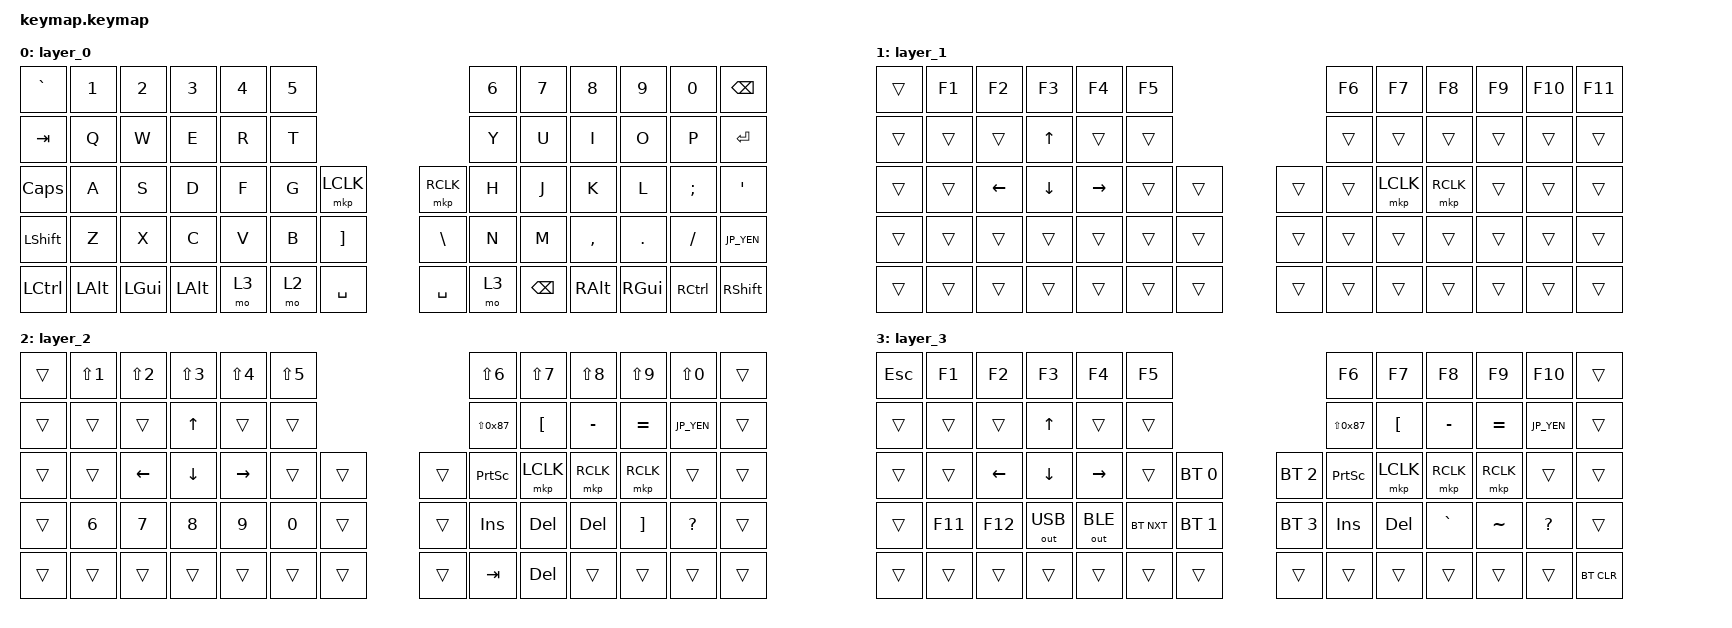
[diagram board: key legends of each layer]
#include <behaviors.dtsi>
#include <dt-bindings/zmk/bt.h>
#include <dt-bindings/zmk/keys.h>
#include <dt-bindings/zmk/outputs.h>
#include <dt-bindings/zmk/pointing.h>
#include <input/processors.dtsi>

// レイヤー2をスクロールに割り当てる
// https://zmk.dev/docs/keymaps/input-processors/code-mapper
&pointing_listener {
    scroller {
        layers = <2>;
        input-processors = <
            &zip_xy_to_scroll_mapper
            &zip_scroll_scaler 1 15
        >;
    };
};

// OS設定を日本語キーボードのまま使用するための変換定義
// https://note.com/kloir_z/n/n314e739f03a1
#define JP_DQUOTE       AT                // "
#define JP_AMPERSAND    CARET             // &
#define JP_QUOTE        AMPERSAND         // '
#define JP_EQUAL        UNDER             // =
#define JP_CARET        EQUAL             // ^
#define JP_YEN          0x89              // ¥
#define JP_PLUS         COLON             // +
#define JP_TILDE        PLUS              // ~
#define JP_PIPE         LS(0x89)          // |
#define JP_AT           LEFT_BRACKET      // @
#define JP_COLON        SINGLE_QUOTE      // :
#define JP_ASTERISK     DOUBLE_QUOTES     // *
#define JP_BACKQUOTE    LEFT_BRACE        // `
#define JP_UNDERSCORE   LS(0x87)          // _
#define JP_LBRACKET     RIGHT_BRACKET     // [
#define JP_RBRACKET     BACKSLASH         // ]
#define JP_LPAREN       ASTERISK          // (
#define JP_RPAREN       LEFT_PARENTHESIS  // )
#define JP_LBRACE       RIGHT_BRACE       // {
#define JP_RBRACE       PIPE              // }
#define JP_KANA         LANGUAGE_1        // かな
#define JP_EISU         LANGUAGE_2        // 英数
#define JP_HANZEN       GRAVE             // 半角/全角
#define JP_SLASH        FSLH              // 追加：バックスラッシュ


/ {
    combos {
        compatible = "zmk,combos";
    };

    keymap {
        compatible = "zmk,keymap";

        layer_0 {
            bindings = <
&kp JP_HANZEN    &kp N1     &kp N2    &kp N3    &kp N4    &kp N5                                                         &kp N6       &kp N7    &kp N8     &kp N9    &kp N0                &kp BSPC
&kp TAB    &kp Q      &kp W      &kp E      &kp R        &kp T                                                          &kp Y        &kp U     &kp I      &kp O     &kp P                 &kp ENTER
&kp CAPS   &kp A      &kp S      &kp D      &kp F        &kp G        &mkp LCLK                  &mkp RCLK              &kp H        &kp J     &kp K      &kp L     &kp SEMI              &kp JP_COLON
&kp LSHFT  &kp Z      &kp X      &kp C      &kp V        &kp B        &kp JP_LBRACKET            &kp JP_RBRACKET        &kp N        &kp M     &kp COMMA  &kp DOT   &kp JP_SLASH         &kp JP_YEN
&kp LCTRL  &kp LALT   &kp LGUI   &kp  LALT    &mo 3        &mo 2   &kp SPACE                         &kp SPACE           &mo 3        &kp BSPC  &kp RALT   &kp RGUI  &kp RCTRL             &kp RSHFT 
            >;
        };

        layer_1 {
            bindings = <
&trans  &kp F1  &kp F2    &kp F3        &kp F4     &kp F5                  &kp F6  &kp F7     &kp F8     &kp F9  &kp F10  &kp F11
&trans  &trans  &trans    &kp UP_ARROW  &trans     &trans                  &trans  &trans     &trans     &trans  &trans  &trans
&trans  &trans  &kp LEFT  &kp DOWN      &kp RIGHT  &trans  &trans  &trans  &trans  &mkp LCLK  &mkp RCLK  &trans  &trans  &trans
&trans  &trans  &trans    &trans        &trans     &trans  &trans  &trans  &trans  &trans     &trans     &trans  &trans  &trans
&trans  &trans  &trans    &trans        &trans     &trans  &trans  &trans  &trans  &trans     &trans     &trans  &trans  &trans
            >;
        };

        layer_2 {
            bindings = <
&trans  &kp LS(NUMBER_1)  &kp LS(NUMBER_2)  &kp LS(N3)    &kp LS(N4)  &kp LS(N5)                 &kp LS(N6)          &kp LS(N7)     &kp LS(N8)     &kp LS(N9)        &kp LS(N0)    &trans
&trans  &trans            &trans            &kp UP_ARROW  &trans      &trans                      &kp JP_UNDERSCORE   &kp JP_AT      &kp MINUS     &kp JP_CARET      &kp JP_YEN       &trans
&trans  &trans            &kp LEFT          &kp DOWN      &kp RIGHT   &trans      &trans  &trans  &kp PSCRN           &mkp LCLK      &mkp RCLK     &mkp RCLK         &trans          &trans
&trans  &kp N6            &kp N7            &kp N8        &kp N9      &kp N0      &trans  &trans  &kp INS             &kp DEL        &kp DEL       &kp RIGHT_BRACKET  &kp QUESTION    &trans
&trans  &trans            &trans            &trans        &trans      &trans      &trans  &trans  &kp TAB             &kp DEL        &trans        &trans             &trans         &trans
            >;
        };

        layer_3 {
            bindings = <
&kp ESC  &kp F1           &kp F2            &kp F3        &kp F4        &kp F5                                  &kp F6              &kp F7        &kp F8         &kp F9          &kp F10      &trans
&trans  &trans            &trans            &kp UP_ARROW  &trans       &trans                                   &kp JP_UNDERSCORE   &kp JP_AT     &kp MINUS      &kp JP_CARET    &kp JP_YEN   &trans
&trans  &trans            &kp LEFT          &kp DOWN      &kp RIGHT     &trans      &bt BT_SEL 0  &bt BT_SEL 2  &kp PSCRN           &mkp LCLK     &mkp RCLK      &mkp RCLK       &trans       &trans
&trans  &kp F11           &kp F12           &out OUT_USB  &out OUT_BLE  &bt BT_NXT  &bt BT_SEL 1  &bt BT_SEL 3  &kp INS             &kp DEL       &kp GRAVE      &kp TILDE      &kp QUESTION    &trans
&trans  &trans            &trans            &trans        &trans        &trans      &trans        &trans        &trans              &trans        &trans         &trans         &trans        &bt BT_CLR
            >;
        };
    };
};
